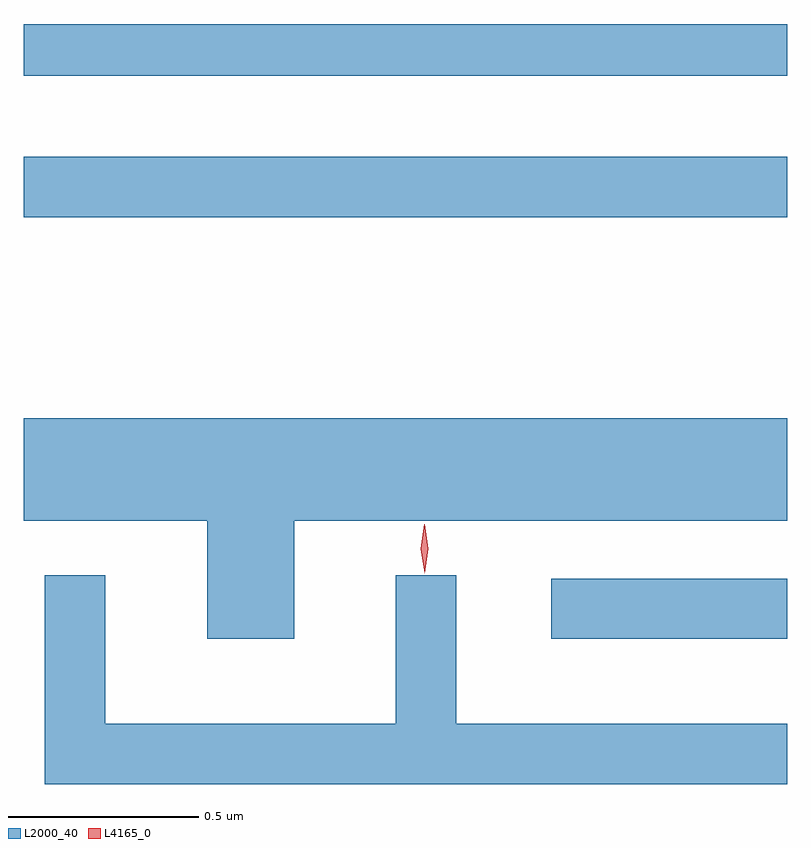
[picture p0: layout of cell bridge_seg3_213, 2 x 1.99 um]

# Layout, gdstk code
import gdstk
lib = gdstk.Library(unit=1e-6, precision=1e-09)
def R(c, l, rs):  # rectangles x0, y0, x1, y1
    for r in rs: c.add(gdstk.rectangle(r[:2], r[2:], *l))
def P(c, l, *ps):  # polygons
    for p in ps: c.add(gdstk.Polygon(p, *l))
L2000_40 = (2000, 40)
L4165_0 = (4165, 0)

bridge_seg3_213 = lib.new_cell('bridge_seg3_213')
R(bridge_seg3_213, L2000_40, [(1065.463,1163.446,1066.081,1163.604), (1064.081,1164.551,1066.081,1164.709), (1064.081,1164.921,1066.081,1165.057)])
P(bridge_seg3_213, L2000_40, [(1064.789,1163.756),(1066.081,1163.756),(1066.081,1164.024),(1064.081,1164.024),(1064.081,1163.756),(1064.561,1163.756),(1064.561,1163.446),(1064.789,1163.446)],
  [(1066.081,1163.224),(1065.214,1163.224),(1065.214,1163.613),(1065.056,1163.613),(1065.056,1163.224),(1064.294,1163.224),(1064.294,1163.613),(1064.136,1163.613),(1064.136,1163.066),(1066.081,1163.066)])
P(bridge_seg3_213, L4165_0, [(1065.131,1163.618),(1065.121,1163.682),(1065.13,1163.746),(1065.131,1163.747),(1065.131,1163.746),(1065.141,1163.682),(1065.132,1163.618),(1065.132,1163.618)])

lib.write_gds('bridge_seg3_213.gds')
